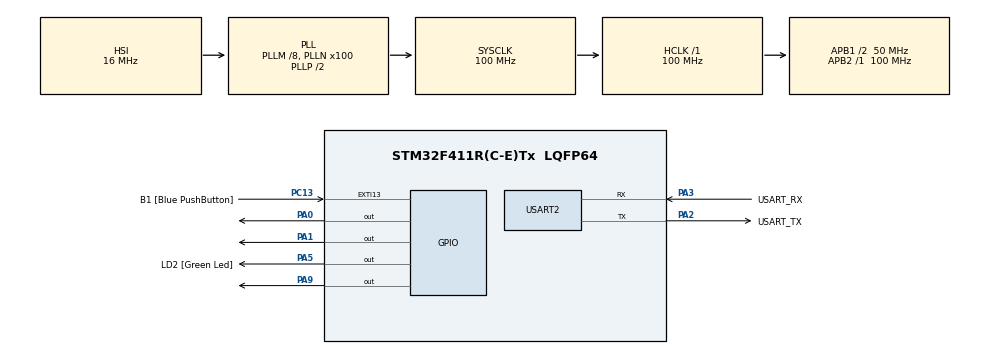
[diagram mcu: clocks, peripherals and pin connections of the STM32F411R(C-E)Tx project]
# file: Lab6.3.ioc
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FREERTOS.BinarySemaphores01=binSem,Dynamic,NULL
FREERTOS.Mutexes01=myMutex,Dynamic,NULL
FREERTOS.Tasks01=defaultTask,0,128,StartDefaultTask,Default,NULL,Dynamic,NULL,NULL;task_1,-2,128,task_1_thread,Default,NULL,Dynamic,NULL,NULL;task_2,-2,128,task_2_thread,Default,NULL,Dynamic,NULL,NULL
FREERTOS.Timers01=led_1,led_callback_1,osTimerPeriodic,Default,NULL,Dynamic,NULL;led_2,led_callback_2,osTimerPeriodic,Default,NULL,Dynamic,NULL;led_3,led_callback_3,osTimerPeriodic,Default,NULL,Dynamic,NULL;led_4,led_callback_4,osTimerPeriodic,Default,NULL,Dynamic,NULL
Mcu.Family=STM32F4
Mcu.Name=STM32F411R(C-E)Tx
Mcu.Package=LQFP64
NVIC.PriorityGroup=NVIC_PRIORITYGROUP_4
PA0-WKUP.Signal=GPIO_Output
PA1.Signal=GPIO_Output
PA13.GPIO_Label=TMS
PA13.Mode=Serial_Wire
PA13.Signal=SYS_JTMS-SWDIO
PA14.GPIO_Label=TCK
PA14.Mode=Serial_Wire
PA14.Signal=SYS_JTCK-SWCLK
PA2.GPIO_Label=USART_TX
PA2.Mode=Asynchronous
PA2.Signal=USART2_TX
PA3.GPIO_Label=USART_RX
PA3.Mode=Asynchronous
PA3.Signal=USART2_RX
PA5.GPIO_Label=LD2 [Green Led]
PA5.Signal=GPIO_Output
PA9.Signal=GPIO_Output
PB3.GPIO_Label=SWO
PB3.Signal=SYS_JTDO-SWO
PC13-ANTI_TAMP.GPIO_Label=B1 [Blue PushButton]
PC13-ANTI_TAMP.GPIO_ModeDefaultEXTI=GPIO_MODE_IT_FALLING
PC13-ANTI_TAMP.Signal=GPXTI13
PC14-OSC32_IN.Mode=LSE-External-Oscillator
PC14-OSC32_IN.Signal=RCC_OSC32_IN
PC15-OSC32_OUT.Mode=LSE-External-Oscillator
PC15-OSC32_OUT.Signal=RCC_OSC32_OUT
PH0\ -\ OSC_IN.Mode=HSE-External-Clock-Source
PH0\ -\ OSC_IN.Signal=RCC_OSC_IN
PH1\ -\ OSC_OUT.Mode=HSE-External-Clock-Source
PH1\ -\ OSC_OUT.Signal=RCC_OSC_OUT
ProjectManager.HeapSize=0x200
ProjectManager.StackSize=0x400
ProjectManager.TargetToolchain=STM32CubeIDE
RCC.48MHZClocksFreq_Value=50000000
RCC.AHBFreq_Value=100000000
RCC.APB1CLKDivider=RCC_HCLK_DIV2
RCC.APB1Freq_Value=50000000
RCC.APB1TimFreq_Value=100000000
RCC.APB2Freq_Value=100000000
RCC.APB2TimFreq_Value=100000000
RCC.CortexFreq_Value=100000000
RCC.FLatency-AdvancedSettings=FLASH_LATENCY_3
RCC.HCLKFreq_Value=100000000
RCC.HSE_VALUE=8000000
RCC.HSI_VALUE=16000000
RCC.PLLM=8
RCC.PLLN=100
RCC.SYSCLKFreq_VALUE=100000000
RCC.SYSCLKSource=RCC_SYSCLKSOURCE_PLLCLK
RCC.VCOOutputFreq_Value=200000000
USART2.VirtualMode=VM_ASYNC
VP_FREERTOS_VS_CMSIS_V1.Mode=CMSIS_V1
board=NUCLEO-F411RE

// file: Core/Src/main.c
/* USER CODE BEGIN Header */
/**
  ******************************************************************************
  * @file           : main.c
  * @brief          : Main program body
  ******************************************************************************
  * @attention
  *
  * Copyright (c) 2024 STMicroelectronics.
  * All rights reserved.
  *
  * This software is licensed under terms that can be found in the LICENSE file
  * in the root directory of this software component.
  * If no LICENSE file comes with this software, it is provided AS-IS.
  *
  ******************************************************************************
  */
/* USER CODE END Header */
#include "main.h"
#include "cmsis_os.h"

UART_HandleTypeDef huart2;

osThreadId defaultTaskHandle;
osThreadId task_1Handle;
osThreadId task_2Handle;
osTimerId led_1Handle;
osTimerId led_2Handle;
osTimerId led_3Handle;
osTimerId led_4Handle;
osMutexId myMutexHandle;
osSemaphoreId binSemHandle;

void SystemClock_Config(void);
static void MX_GPIO_Init(void);
static void MX_USART2_UART_Init(void);
void StartDefaultTask(void const * argument);
void task_1_thread(void const * argument);
void task_2_thread(void const * argument);
void led_callback_1(void const * argument);
void led_callback_2(void const * argument);
void led_callback_3(void const * argument);
void led_callback_4(void const * argument);

int main(void)
{

  /* MCU Configuration--------------------------------------------------------*/

  /* Reset of all peripherals, Initializes the Flash interface and the Systick. */
  HAL_Init();

  /* Configure the system clock */
  SystemClock_Config();

  /* Initialize all configured peripherals */
  MX_GPIO_Init();
  MX_USART2_UART_Init();

  /* Create the mutex(es) */
  /* definition and creation of myMutex */
  osMutexDef(myMutex);
  myMutexHandle = osMutexCreate(osMutex(myMutex));

  /* Create the semaphores(s) */
  /* definition and creation of binSem */
  osSemaphoreDef(binSem);
  binSemHandle = osSemaphoreCreate(osSemaphore(binSem), 1);

  /* Create the timer(s) */
  /* definition and creation of led_1 */
  osTimerDef(led_1, led_callback_1);
  led_1Handle = osTimerCreate(osTimer(led_1), osTimerPeriodic, NULL);

  /* definition and creation of led_2 */
  osTimerDef(led_2, led_callback_2);
  led_2Handle = osTimerCreate(osTimer(led_2), osTimerPeriodic, NULL);

  /* definition and creation of led_3 */
  osTimerDef(led_3, led_callback_3);
  led_3Handle = osTimerCreate(osTimer(led_3), osTimerPeriodic, NULL);

  /* definition and creation of led_4 */
  osTimerDef(led_4, led_callback_4);
  led_4Handle = osTimerCreate(osTimer(led_4), osTimerPeriodic, NULL);

  /* Create the thread(s) */
  /* definition and creation of defaultTask */
  osThreadDef(defaultTask, StartDefaultTask, osPriorityNormal, 0, 128);
  defaultTaskHandle = osThreadCreate(osThread(defaultTask), NULL);

  /* definition and creation of task_1 */
  osThreadDef(task_1, task_1_thread, osPriorityLow, 0, 128);
  task_1Handle = osThreadCreate(osThread(task_1), NULL);

  /* definition and creation of task_2 */
  osThreadDef(task_2, task_2_thread, osPriorityLow, 0, 128);
  task_2Handle = osThreadCreate(osThread(task_2), NULL);

  /* Start scheduler */
  osKernelStart();

  /* We should never get here as control is now taken by the scheduler */
  /* Infinite loop */
  while (1)
  {

  }
}

void SystemClock_Config(void)
{
  RCC_OscInitTypeDef RCC_OscInitStruct = {0};
  RCC_ClkInitTypeDef RCC_ClkInitStruct = {0};

  /** Configure the main internal regulator output voltage
  */
  __HAL_RCC_PWR_CLK_ENABLE();
  __HAL_PWR_VOLTAGESCALING_CONFIG(PWR_REGULATOR_VOLTAGE_SCALE1);

  /** Initializes the RCC Oscillators according to the specified parameters
  * in the RCC_OscInitTypeDef structure.
  */
  RCC_OscInitStruct.OscillatorType = RCC_OSCILLATORTYPE_HSI;
  RCC_OscInitStruct.HSIState = RCC_HSI_ON;
  RCC_OscInitStruct.HSICalibrationValue = RCC_HSICALIBRATION_DEFAULT;
  RCC_OscInitStruct.PLL.PLLState = RCC_PLL_ON;
  RCC_OscInitStruct.PLL.PLLSource = RCC_PLLSOURCE_HSI;
  RCC_OscInitStruct.PLL.PLLM = 8;
  RCC_OscInitStruct.PLL.PLLN = 100;
  RCC_OscInitStruct.PLL.PLLP = RCC_PLLP_DIV2;
  RCC_OscInitStruct.PLL.PLLQ = 4;
  if (HAL_RCC_OscConfig(&RCC_OscInitStruct) != HAL_OK)
  {
    Error_Handler();
  }

  /** Initializes the CPU, AHB and APB buses clocks
  */
  RCC_ClkInitStruct.ClockType = RCC_CLOCKTYPE_HCLK|RCC_CLOCKTYPE_SYSCLK
                              |RCC_CLOCKTYPE_PCLK1|RCC_CLOCKTYPE_PCLK2;
  RCC_ClkInitStruct.SYSCLKSource = RCC_SYSCLKSOURCE_PLLCLK;
  RCC_ClkInitStruct.AHBCLKDivider = RCC_SYSCLK_DIV1;
  RCC_ClkInitStruct.APB1CLKDivider = RCC_HCLK_DIV2;
  RCC_ClkInitStruct.APB2CLKDivider = RCC_HCLK_DIV1;

  if (HAL_RCC_ClockConfig(&RCC_ClkInitStruct, FLASH_LATENCY_3) != HAL_OK)
  {
    Error_Handler();
  }
}

static void MX_USART2_UART_Init(void)
{

  huart2.Instance = USART2;
  huart2.Init.BaudRate = 115200;
  huart2.Init.WordLength = UART_WORDLENGTH_8B;
  huart2.Init.StopBits = UART_STOPBITS_1;
  huart2.Init.Parity = UART_PARITY_NONE;
  huart2.Init.Mode = UART_MODE_TX_RX;
  huart2.Init.HwFlowCtl = UART_HWCONTROL_NONE;
  huart2.Init.OverSampling = UART_OVERSAMPLING_16;
  if (HAL_UART_Init(&huart2) != HAL_OK)
  {
    Error_Handler();
  }

}

static void MX_GPIO_Init(void)
{
  GPIO_InitTypeDef GPIO_InitStruct = {0};

  /* GPIO Ports Clock Enable */
  __HAL_RCC_GPIOC_CLK_ENABLE();
  __HAL_RCC_GPIOH_CLK_ENABLE();
  __HAL_RCC_GPIOA_CLK_ENABLE();
  __HAL_RCC_GPIOB_CLK_ENABLE();

  /*Configure GPIO pin Output Level */
  HAL_GPIO_WritePin(GPIOA, GPIO_PIN_0|GPIO_PIN_1|LD2_Pin|GPIO_PIN_9, GPIO_PIN_RESET);

  /*Configure GPIO pin : B1_Pin */
  GPIO_InitStruct.Pin = B1_Pin;
  GPIO_InitStruct.Mode = GPIO_MODE_IT_FALLING;
  GPIO_InitStruct.Pull = GPIO_NOPULL;
  HAL_GPIO_Init(B1_GPIO_Port, &GPIO_InitStruct);

  /*Configure GPIO pins : PA0 PA1 LD2_Pin PA9 */
  GPIO_InitStruct.Pin = GPIO_PIN_0|GPIO_PIN_1|LD2_Pin|GPIO_PIN_9;
  GPIO_InitStruct.Mode = GPIO_MODE_OUTPUT_PP;
  GPIO_InitStruct.Pull = GPIO_NOPULL;
  GPIO_InitStruct.Speed = GPIO_SPEED_FREQ_LOW;
  HAL_GPIO_Init(GPIOA, &GPIO_InitStruct);

}

void StartDefaultTask(void const * argument)
{
  /* USER CODE BEGIN 5 */
  /* Infinite loop */
	osTimerStart(led_1Handle, 50);
	osTimerStart(led_2Handle, 18);
	osTimerStart(led_3Handle, 128);
	osTimerStart(led_4Handle, 64);
  for(;;)
  {
    osDelay(1);
  }
  /* USER CODE END 5 */
}

void task_1_thread(void const * argument)
{
  /* USER CODE BEGIN task_1_thread */
  /* Infinite loop */
  int threadID = 0; // threadID is 0 for one thread and 1 for another
  int idx = 0;
  char buffer[32];
  while(1) {
	  osSemaphoreWait(binSemHandle, osWaitForever);
//	  osMutexCreate(myMutexHandle);

	  sprintf(buffer, "TID: %d %d\r\n", threadID, idx);
	  idx ++;
	  HAL_UART_Transmit(&huart2, buffer, strlen(buffer), 1000);

	  osSemaphoreRelease(binSemHandle);
//	  osMutexDelete(myMutexHandle);
  }
  /* USER CODE END task_1_thread */
}

void task_2_thread(void const * argument)
{
  /* USER CODE BEGIN task_2_thread */
  /* Infinite loop */
  int threadID = 1; // threadID is 0 for one thread and 1 for another
  int idx = 0;
  char buffer[32];
  while(1) {
	  osSemaphoreWait(binSemHandle, osWaitForever);
//	  osMutexCreate(myMutexHandle);

  	  sprintf(buffer, "TID: %d %d\r\n", threadID, idx);
  	  idx ++;
  	  HAL_UART_Transmit(&huart2, buffer, strlen(buffer), 1000);

	  osSemaphoreRelease(binSemHandle);
//	  osMutexDelete(myMutexHandle);
  }
  /* USER CODE END task_2_thread */
}

/* led_callback_1 function */
void led_callback_1(void const * argument)
{
  /* USER CODE BEGIN led_callback_1 */
	  HAL_GPIO_TogglePin(GPIOA, GPIO_PIN_5);
  /* USER CODE END led_callback_1 */
}

/* led_callback_2 function */
void led_callback_2(void const * argument)
{
  /* USER CODE BEGIN led_callback_2 */
	  HAL_GPIO_TogglePin(GPIOA, GPIO_PIN_0);
  /* USER CODE END led_callback_2 */
}

/* led_callback_3 function */
void led_callback_3(void const * argument)
{
  /* USER CODE BEGIN led_callback_3 */
	  HAL_GPIO_TogglePin(GPIOA, GPIO_PIN_1);
  /* USER CODE END led_callback_3 */
}

/* led_callback_4 function */
void led_callback_4(void const * argument)
{
  /* USER CODE BEGIN led_callback_4 */
	  HAL_GPIO_TogglePin(GPIOA, GPIO_PIN_9);
  /* USER CODE END led_callback_4 */
}

void Error_Handler(void)
{
  __disable_irq();
  while (1)
  {
  }
}
